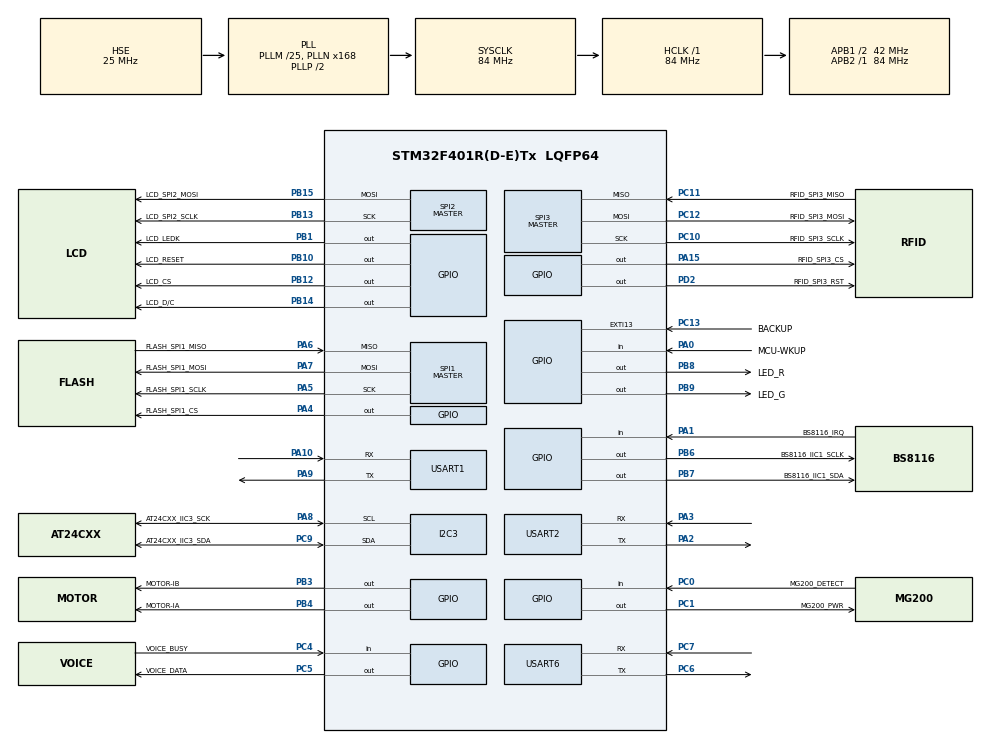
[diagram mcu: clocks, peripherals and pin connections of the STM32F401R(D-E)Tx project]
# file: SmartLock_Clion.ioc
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FREERTOS.HEAP_NUMBER=3
FREERTOS.INCLUDE_uxTaskGetStackHighWaterMark=1
FREERTOS.Queues01=Door_Lock,1,uint8_t,0,Dynamic,NULL,NULL;Keyboard,16,uint8_t,0,Dynamic,NULL,NULL
FREERTOS.Tasks01=defaultTask,1,512,StartDefaultTask,Default,NULL,Dynamic,NULL,NULL;LCD,-3,256,LCD_entry,Default,NULL,Dynamic,NULL,NULL;RFID,-3,256,RFID_entry,Default,NULL,Dynamic,NULL,NULL;LED,-3,512,LED_entry,Default,NULL,Dynamic,NULL,NULL;Door,2,256,Door_entry,Default,NULL,Dynamic,NULL,NULL;ESP32,-3,512,ESP32_entry,Default,NULL,Dynamic,NULL,NULL;BS8116,-3,256,BS8116_entry,Default,NULL,Dynamic,NULL,NULL;Voice,-3,128,Voice_enrty,Default,NULL,Dynamic,NULL,NULL;Password_deal,-3,512,Password_entry,Default,NULL,Dynamic,NULL,NULL;MG200,-3,128,MG200_entry,Default,NULL,Dynamic,NULL,NULL
FREERTOS.configMINIMAL_STACK_SIZE=64
Mcu.Family=STM32F4
Mcu.Name=STM32F401R(D-E)Tx
Mcu.Package=LQFP64
NVIC.EXTI15_10_IRQn=true\:5\:0\:false\:false\:true\:true\:true\:true\:true
NVIC.PriorityGroup=NVIC_PRIORITYGROUP_4
NVIC.USART2_IRQn=true\:5\:0\:false\:false\:true\:true\:true\:true\:true
PA0-WKUP.GPIO_Label=MCU-WKUP
PA0-WKUP.Signal=GPIO_Input
PA1.GPIO_Label=BS8116_IRQ
PA1.Signal=GPIO_Input
PA10.Mode=Asynchronous
PA10.Signal=USART1_RX
PA13.Mode=Serial_Wire
PA13.Signal=SYS_JTMS-SWDIO
PA14.Mode=Serial_Wire
PA14.Signal=SYS_JTCK-SWCLK
PA15.GPIO_Label=RFID_SPI3_CS
PA15.Signal=GPIO_Output
PA2.Mode=Asynchronous
PA2.Signal=USART2_TX
PA3.Mode=Asynchronous
PA3.Signal=USART2_RX
PA4.GPIO_Label=FLASH_SPI1_CS
PA4.Signal=GPIO_Output
PA5.GPIO_Label=FLASH_SPI1_SCLK
PA5.Mode=Full_Duplex_Master
PA5.Signal=SPI1_SCK
PA6.GPIO_Label=FLASH_SPI1_MISO
PA6.Mode=Full_Duplex_Master
PA6.Signal=SPI1_MISO
PA7.GPIO_Label=FLASH_SPI1_MOSI
PA7.Mode=Full_Duplex_Master
PA7.Signal=SPI1_MOSI
PA8.GPIO_Label=AT24CXX_IIC3_SCK
PA8.Mode=I2C
PA8.Signal=I2C3_SCL
PA9.Mode=Asynchronous
PA9.Signal=USART1_TX
PB1.GPIO_Label=LCD_LEDK
PB1.Signal=GPIO_Output
PB10.GPIO_Label=LCD_RESET
PB10.Signal=GPIO_Output
PB12.GPIO_Label=LCD_CS
PB12.Signal=GPIO_Output
PB13.GPIO_Label=LCD_SPI2_SCLK
PB13.Mode=TX_Only_Simplex_Unidirect_Master
PB13.Signal=SPI2_SCK
PB14.GPIO_Label=LCD_D/C
PB14.Signal=GPIO_Output
PB15.GPIO_Label=LCD_SPI2_MOSI
PB15.Mode=TX_Only_Simplex_Unidirect_Master
PB15.Signal=SPI2_MOSI
PB3.GPIO_Label=MOTOR-IB
PB3.GPIO_PuPd=GPIO_PULLDOWN
PB3.PinState=GPIO_PIN_RESET
PB3.Signal=GPIO_Output
PB4.GPIO_Label=MOTOR-IA
PB4.GPIO_PuPd=GPIO_PULLDOWN
PB4.PinState=GPIO_PIN_RESET
PB4.Signal=GPIO_Output
PB6.GPIO_Label=BS8116_IIC1_SCLK
PB6.GPIO_ModeDefaultOutputPP=GPIO_MODE_OUTPUT_PP
PB6.GPIO_PuPd=GPIO_NOPULL
PB6.GPIO_Speed=GPIO_SPEED_FREQ_HIGH
PB6.Signal=GPIO_Output
PB7.GPIO_Label=BS8116_IIC1_SDA
PB7.GPIO_ModeDefaultOutputPP=GPIO_MODE_OUTPUT_OD
PB7.GPIO_PuPd=GPIO_NOPULL
PB7.PinState=GPIO_PIN_SET
PB7.Signal=GPIO_Output
PB8.GPIO_Label=LED_R
PB8.Signal=GPIO_Output
PB9.GPIO_Label=LED_G
PB9.Signal=GPIO_Output
PC0.GPIO_Label=MG200_DETECT
PC0.Signal=GPIO_Input
PC1.GPIO_Label=MG200_PWR
PC1.PinState=GPIO_PIN_SET
PC1.Signal=GPIO_Output
PC10.GPIO_Label=RFID_SPI3_SCLK
PC10.Mode=Full_Duplex_Master
PC10.Signal=SPI3_SCK
PC11.GPIO_Label=RFID_SPI3_MISO
PC11.Mode=Full_Duplex_Master
PC11.Signal=SPI3_MISO
PC12.GPIO_Label=RFID_SPI3_MOSI
PC12.Mode=Full_Duplex_Master
PC12.Signal=SPI3_MOSI
PC13-ANTI_TAMP.GPIO_Label=BACKUP
PC13-ANTI_TAMP.Signal=GPXTI13
PC14-OSC32_IN.Mode=LSE-External-Oscillator
PC14-OSC32_IN.Signal=RCC_OSC32_IN
PC15-OSC32_OUT.Mode=LSE-External-Oscillator
PC15-OSC32_OUT.Signal=RCC_OSC32_OUT
PC4.GPIO_Label=VOICE_BUSY
PC4.Signal=GPIO_Input
PC5.GPIO_Label=VOICE_DATA
PC5.Signal=GPIO_Output
PC6.Mode=Asynchronous
PC6.Signal=USART6_TX
PC7.Mode=Asynchronous
PC7.Signal=USART6_RX
PC9.GPIO_Label=AT24CXX_IIC3_SDA
PC9.Mode=I2C
PC9.Signal=I2C3_SDA
PD2.GPIO_Label=RFID_SPI3_RST
PD2.Signal=GPIO_Output
PH0\ -\ OSC_IN.Mode=HSE-External-Oscillator
PH0\ -\ OSC_IN.Signal=RCC_OSC_IN
PH1\ -\ OSC_OUT.Mode=HSE-External-Oscillator
PH1\ -\ OSC_OUT.Signal=RCC_OSC_OUT
ProjectManager.HeapSize=0x200
ProjectManager.StackSize=0x400
ProjectManager.TargetToolchain=STM32CubeIDE
RCC.48MHZClocksFreq_Value=42000000
RCC.AHBFreq_Value=84000000
RCC.APB1CLKDivider=RCC_HCLK_DIV2
RCC.APB1Freq_Value=42000000
RCC.APB1TimFreq_Value=84000000
RCC.APB2Freq_Value=84000000
RCC.APB2TimFreq_Value=84000000
RCC.CortexFreq_Value=84000000
RCC.HCLKFreq_Value=84000000
RCC.HSE_VALUE=25000000
RCC.HSI_VALUE=16000000
RCC.PLLM=25
RCC.PLLN=168
RCC.PLLSourceVirtual=RCC_PLLSOURCE_HSE
RCC.SYSCLKFreq_VALUE=84000000
RCC.SYSCLKSource=RCC_SYSCLKSOURCE_PLLCLK
RCC.VCOOutputFreq_Value=168000000
SPI1.Direction=SPI_DIRECTION_2LINES
SPI1.Mode=SPI_MODE_MASTER
SPI1.VirtualType=VM_MASTER
SPI2.Direction=SPI_DIRECTION_2LINES
SPI2.Mode=SPI_MODE_MASTER
SPI2.VirtualType=VM_MASTER
SPI3.Direction=SPI_DIRECTION_2LINES
SPI3.Mode=SPI_MODE_MASTER
SPI3.VirtualType=VM_MASTER
USART1.VirtualMode=VM_ASYNC
USART2.VirtualMode=VM_ASYNC
USART6.VirtualMode=VM_ASYNC
VP_FREERTOS_VS_CMSIS_V1.Mode=CMSIS_V1
board=custom

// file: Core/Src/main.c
/* USER CODE BEGIN Header */
/**
  ******************************************************************************
  * @file           : main.c
  * @brief          : Main program body
  ******************************************************************************
  * @attention
  *
  * Copyright (c) 2022 STMicroelectronics.
  * All rights reserved.
  *
  * This software is licensed under terms that can be found in the LICENSE file
  * in the root directory of this software component.
  * If no LICENSE file comes with this software, it is provided AS-IS.
  *
  ******************************************************************************
  */
/* USER CODE END Header */
#include "main.h"
#include "cmsis_os.h"
#include "i2c.h"
#include "spi.h"
#include "usart.h"
#include "gpio.h"

void SystemClock_Config(void);
void MX_FREERTOS_Init(void);

int main(void)
{

  /* MCU Configuration--------------------------------------------------------*/

  /* Reset of all peripherals, Initializes the Flash interface and the Systick. */
  HAL_Init();

  /* Configure the system clock */
  SystemClock_Config();

  /* Initialize all configured peripherals */
  MX_GPIO_Init();
  MX_USART1_UART_Init();
  MX_USART2_UART_Init();
  MX_SPI2_Init();
  MX_SPI3_Init();
  MX_I2C3_Init();
  MX_SPI1_Init();
  MX_USART6_UART_Init();
  /* USER CODE BEGIN 2 */
  RetargetInit(&huart1);

  RFID_Init();
  st7789vm_init();
  Door_Init();

  HAL_UART_Receive_IT(&huart2, &b, 1);
  /* USER CODE END 2 */

  /* Call init function for freertos objects (in freertos.c) */
  MX_FREERTOS_Init();

  /* Start scheduler */
  osKernelStart();

  /* We should never get here as control is now taken by the scheduler */
  /* Infinite loop */
  while (1)
  {

  }
}

void SystemClock_Config(void)
{
  RCC_OscInitTypeDef RCC_OscInitStruct = {0};
  RCC_ClkInitTypeDef RCC_ClkInitStruct = {0};

  /** Configure the main internal regulator output voltage
  */
  __HAL_RCC_PWR_CLK_ENABLE();
  __HAL_PWR_VOLTAGESCALING_CONFIG(PWR_REGULATOR_VOLTAGE_SCALE2);

  /** Initializes the RCC Oscillators according to the specified parameters
  * in the RCC_OscInitTypeDef structure.
  */
  RCC_OscInitStruct.OscillatorType = RCC_OSCILLATORTYPE_HSE;
  RCC_OscInitStruct.HSEState = RCC_HSE_ON;
  RCC_OscInitStruct.PLL.PLLState = RCC_PLL_ON;
  RCC_OscInitStruct.PLL.PLLSource = RCC_PLLSOURCE_HSE;
  RCC_OscInitStruct.PLL.PLLM = 25;
  RCC_OscInitStruct.PLL.PLLN = 168;
  RCC_OscInitStruct.PLL.PLLP = RCC_PLLP_DIV2;
  RCC_OscInitStruct.PLL.PLLQ = 4;
  if (HAL_RCC_OscConfig(&RCC_OscInitStruct) != HAL_OK)
  {
    Error_Handler();
  }

  /** Initializes the CPU, AHB and APB buses clocks
  */
  RCC_ClkInitStruct.ClockType = RCC_CLOCKTYPE_HCLK|RCC_CLOCKTYPE_SYSCLK
                              |RCC_CLOCKTYPE_PCLK1|RCC_CLOCKTYPE_PCLK2;
  RCC_ClkInitStruct.SYSCLKSource = RCC_SYSCLKSOURCE_PLLCLK;
  RCC_ClkInitStruct.AHBCLKDivider = RCC_SYSCLK_DIV1;
  RCC_ClkInitStruct.APB1CLKDivider = RCC_HCLK_DIV2;
  RCC_ClkInitStruct.APB2CLKDivider = RCC_HCLK_DIV1;

  if (HAL_RCC_ClockConfig(&RCC_ClkInitStruct, FLASH_LATENCY_2) != HAL_OK)
  {
    Error_Handler();
  }
}

void Error_Handler(void)
{
  __disable_irq();
  while (1)
  {
  }
}

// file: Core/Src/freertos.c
/* USER CODE BEGIN Header */
/**
  ******************************************************************************
  * File Name          : freertos.c
  * Description        : Code for freertos applications
  ******************************************************************************
  * @attention
  *
  * Copyright (c) 2022 STMicroelectronics.
  * All rights reserved.
  *
  * This software is licensed under terms that can be found in the LICENSE file
  * in the root directory of this software component.
  * If no LICENSE file comes with this software, it is provided AS-IS.
  *
  ******************************************************************************
  */
/* USER CODE END Header */

#include "FreeRTOS.h"
#include "task.h"
#include "main.h"
#include "cmsis_os.h"

/* USER CODE BEGIN Includes */
#include "usart.h"
/* USER CODE END Includes */

osThreadId defaultTaskHandle;
osThreadId LCDHandle;
osThreadId RFIDHandle;
osThreadId LEDHandle;
osThreadId DoorHandle;
osThreadId ESP32Handle;
osThreadId BS8116Handle;
osThreadId VoiceHandle;
osThreadId Password_dealHandle;
osThreadId MG200Handle;
osMessageQId Door_LockHandle;
osMessageQId KeyboardHandle;

void StartDefaultTask(void const * argument);
void LCD_entry(void const * argument);
void RFID_entry(void const * argument);
void LED_entry(void const * argument);
void Door_entry(void const * argument);
void ESP32_entry(void const * argument);
void BS8116_entry(void const * argument);
void Voice_enrty(void const * argument);
void Password_entry(void const * argument);
void MG200_entry(void const * argument);

void MX_FREERTOS_Init(void); /* (MISRA C 2004 rule 8.1) */

/* GetIdleTaskMemory prototype (linked to static allocation support) */
void vApplicationGetIdleTaskMemory( StaticTask_t **ppxIdleTaskTCBBuffer, StackType_t **ppxIdleTaskStackBuffer, uint32_t *pulIdleTaskStackSize );

/* USER CODE BEGIN GET_IDLE_TASK_MEMORY */
static StaticTask_t xIdleTaskTCBBuffer;
static StackType_t xIdleStack[configMINIMAL_STACK_SIZE];

void vApplicationGetIdleTaskMemory( StaticTask_t **ppxIdleTaskTCBBuffer, StackType_t **ppxIdleTaskStackBuffer, uint32_t *pulIdleTaskStackSize )
{
  *ppxIdleTaskTCBBuffer = &xIdleTaskTCBBuffer;
  *ppxIdleTaskStackBuffer = &xIdleStack[0];
  *pulIdleTaskStackSize = configMINIMAL_STACK_SIZE;
  /* place for user code */
}
/* USER CODE END GET_IDLE_TASK_MEMORY */

void MX_FREERTOS_Init(void) {

  /* Create the queue(s) */
  /* definition and creation of Door_Lock */
  osMessageQDef(Door_Lock, 1, uint8_t);
  Door_LockHandle = osMessageCreate(osMessageQ(Door_Lock), NULL);

  /* definition and creation of Keyboard */
  osMessageQDef(Keyboard, 16, uint8_t);
  KeyboardHandle = osMessageCreate(osMessageQ(Keyboard), NULL);

  /* Create the thread(s) */
  /* definition and creation of defaultTask */
  osThreadDef(defaultTask, StartDefaultTask, osPriorityAboveNormal, 0, 512);
  defaultTaskHandle = osThreadCreate(osThread(defaultTask), NULL);

  /* definition and creation of LCD */
  osThreadDef(LCD, LCD_entry, osPriorityIdle, 0, 256);
  LCDHandle = osThreadCreate(osThread(LCD), NULL);

  /* definition and creation of RFID */
  osThreadDef(RFID, RFID_entry, osPriorityIdle, 0, 256);
  RFIDHandle = osThreadCreate(osThread(RFID), NULL);

  /* definition and creation of LED */
  osThreadDef(LED, LED_entry, osPriorityIdle, 0, 512);
  LEDHandle = osThreadCreate(osThread(LED), NULL);

  /* definition and creation of Door */
  osThreadDef(Door, Door_entry, osPriorityHigh, 0, 256);
  DoorHandle = osThreadCreate(osThread(Door), NULL);

  /* definition and creation of ESP32 */
  osThreadDef(ESP32, ESP32_entry, osPriorityIdle, 0, 512);
  ESP32Handle = osThreadCreate(osThread(ESP32), NULL);

  /* definition and creation of BS8116 */
  osThreadDef(BS8116, BS8116_entry, osPriorityIdle, 0, 256);
  BS8116Handle = osThreadCreate(osThread(BS8116), NULL);

  /* definition and creation of Voice */
  osThreadDef(Voice, Voice_enrty, osPriorityIdle, 0, 128);
  VoiceHandle = osThreadCreate(osThread(Voice), NULL);

  /* definition and creation of Password_deal */
  osThreadDef(Password_deal, Password_entry, osPriorityIdle, 0, 512);
  Password_dealHandle = osThreadCreate(osThread(Password_deal), NULL);

  /* definition and creation of MG200 */
  osThreadDef(MG200, MG200_entry, osPriorityIdle, 0, 128);
  MG200Handle = osThreadCreate(osThread(MG200), NULL);

}

void StartDefaultTask(void const * argument)
{
  /* USER CODE BEGIN StartDefaultTask */
  UBaseType_t task1, task2, task3, task4, task5, task6, task7, task8, task9, task10;
  /* Infinite loop */
  for(;;)
  {

    task1 = uxTaskGetStackHighWaterMark(NULL);
    task2 = uxTaskGetStackHighWaterMark(LCDHandle);
    task3 = uxTaskGetStackHighWaterMark(RFIDHandle);
    task4 = uxTaskGetStackHighWaterMark(LEDHandle);
    task5 = uxTaskGetStackHighWaterMark(DoorHandle);
    task6 = uxTaskGetStackHighWaterMark(ESP32Handle);
    task7 = uxTaskGetStackHighWaterMark(BS8116Handle);
    task8 = uxTaskGetStackHighWaterMark(VoiceHandle);
    task9 = uxTaskGetStackHighWaterMark(Password_dealHandle);
      task10 = uxTaskGetStackHighWaterMark(MG200Handle);

    printf("\r\ntask1 : %ld\n"
           "task2 : %ld\n"
           "task3 : %ld\n"
           "task4 : %ld\n"
           "task5 : %ld\n"
           "task6 : %ld\n"
           "task7 : %ld\n"
           "task8 : %ld\n"
           "task9 : %ld\n"
           "task10 : %ld\n",

             task1,
             task2,
             task3,
             task4,
             task5,
             task6,
             task7,
             task8,
             task9,
             task10
             );
    osDelay(50000);

  }
  /* USER CODE END StartDefaultTask */
}

void LCD_entry(void const * argument)
{
  /* USER CODE BEGIN LCD_entry */
//    uint8_t eng[] ={
//            0x00,0x00,0x00,0x00,0x00,0x00,0x00,0x00,0x00,0x00,0x00,0x00,0x1F,0xFC,0x1F,0xFC,
//            0x10,0x08,0x30,0x10,0x20,0x10,0x20,0x20,0x00,0x20,0x00,0x40,0x00,0x40,0x00,0x40,
//            0x00,0x80,0x00,0x80,0x01,0x00,0x01,0x00,0x01,0x00,0x01,0x00,0x03,0x00,0x03,0x00,
//            0x03,0x00,0x03,0x00,0x03,0x00,0x03,0x00,0x00,0x00,0x00,0x00,0x00,0x00,0x00,0x00,/*"7",0*/
//    };
//
//
//    uint8_t chi[] = {
//
//            0x00,0x00,0x00,0x00,0x00,0x00,0x00,0xF0,0x04,0x00,0x9B,0xFC,0x3E,0x90,0x08,0x24,
//            0x90,0x08,0x24,0xA0,0x08,0x24,0xA3,0xC8,0x24,0xA2,0x48,0x24,0xA2,0x48,0x24,0xA2,
//            0x48,0x24,0x92,0x48,0x24,0x92,0x48,0x24,0x9A,0x48,0x3C,0x9B,0xC8,0x24,0xDA,0x48,
//            0x20,0xB0,0x08,0x00,0x80,0x08,0x00,0x80,0x08,0x00,0x80,0x08,0x00,0x80,0x08,0x00,
//            0x80,0x78,0x00,0x80,0x10,0x00,0x00,0x00,/*"啊",0*/
//
//
//    };
//    Display_eng(100, 100, RED,WHITE,32,eng);
//    Display_chi(150,150,RED,WHITE,24,chi);
  /* Infinite loop */
  for(;;)
  {

    //Display_Pic(0,0,gImage_123456);

    osDelay(3000);
  }
  /* USER CODE END LCD_entry */
}

void RFID_entry(void const * argument)
{
  /* USER CODE BEGIN RFID_entry */
  uint8_t card_id[4] = {0}; //�?�ID
  uint8_t CT[4] = {0}; //�?�类型

  /* Infinite loop */
  for(;;)
  {
      if(PcdRequest(PICC_REQALL, CT) == MI_OK)//寻�?��?功
      {
          int i = 0;//�?�0是开门，�?�1是关门
          xQueueSend(Door_LockHandle, &i, 0);
//          if(PcdAnticoll(card_id) == MI_OK)
//          {
//              printf("card_type:");
//              print_info(CT, 4);
//              printf("\r\n");
//              printf("card_id:");
//              print_info(card_id, 4);
//              printf("\r\n");
//              Open_Door();
//
//          }
      }

      osDelay(500);
  }
  /* USER CODE END RFID_entry */
}

void LED_entry(void const * argument)
{
  /* USER CODE BEGIN LED_entry */
  /* Infinite loop */
  for(;;)
  {
    HAL_GPIO_TogglePin(LED_G_GPIO_Port, LED_G_Pin);
    HAL_GPIO_TogglePin(LED_R_GPIO_Port, LED_R_Pin);
//    Delay_ms(1000);
//    LED_Blink();
    osDelay(1000);
  }
  /* USER CODE END LED_entry */
}

void Door_entry(void const * argument)
{
  /* USER CODE BEGIN Door_entry */
  uint8_t buf = 0;

  uint8_t timeout = 10;
  /* Infinite loop */
  for(;;)
  {
      xQueueReceive(Door_LockHandle, &buf, 0);
      // control the lock
      if(buf == 1 && lock_status == 0 && door_status == 1)
      {
          Close_Door();
          lock_status = 1;
      }
      if(buf == 0 && lock_status == 1)
      {
          Open_Door();

          lock_status = 0;
      }

      // 关门状�?下 5秒�?��?门
      if(door_status == 1 && lock_status == 0)
      {

          timeout--;
          //printf("%d", timeout);
          if(timeout == 0 && lock_status == 0)
          {
              Close_Door();
              lock_status = 1;
              timeout = 10;
          }
      }

      buf = 3;

    osDelay(500);
  }
  /* USER CODE END Door_entry */
}

void ESP32_entry(void const * argument)
{
  /* USER CODE BEGIN ESP32_entry */
    char cmd[1024] = {0};
    strcpy(cmd, "print()\r\n");
  /* Infinite loop */
  for(;;)
  {

    //HAL_UART_Transmit(&huart2, (uint8_t *)cmd, strlen(cmd) , 0x10);
    osDelay(3000);
  }
  /* USER CODE END ESP32_entry */
}

void BS8116_entry(void const * argument)
{
  /* USER CODE BEGIN BS8116_entry */
  /* Infinite loop */
  for(;;)
  {
      uint8_t buf = 0; //存键盘数�?�
      if(!BS8116_IRQBS8116_IRQ)
      {
          buf = Bs8116_ReadKey();
          xQueueSend(KeyboardHandle, &buf, 0);
          //printf("%c\n", Bs8116_ReadKey());
      }

      osDelay(500);
  }
  /* USER CODE END BS8116_entry */
}

void Voice_enrty(void const * argument)
{
  /* USER CODE BEGIN Voice_enrty */
    //Voice_Sendcmd(0x18);
  /* Infinite loop */
  for(;;)
  {

    osDelay(1);
  }
  /* USER CODE END Voice_enrty */
}

void Password_entry(void const * argument)
{
  /* USER CODE BEGIN Password_entry */
  uint8_t i = 0;//0是开�?
  const static uint8_t pwd[4] = {'1', '2', '3', '4'};

  uint8_t flag = 0;//记录状�?，1是开始记录密�?，0�?记录密�?
  uint8_t password[4] = {0};//�?存密�?
  uint8_t pwd_count = 0;//记录第几�?密�?
  uint8_t buf = 0;
  /* Infinite loop */
  for(;;)
  {
      if(xQueueReceive(KeyboardHandle, &buf, 0) != errQUEUE_EMPTY)
      {
          if(flag == 1)
          {
              printf("%c", buf);
              password[pwd_count] = buf;
              pwd_count++;

          }

          //printf("%c\n", buf);
          if(buf == '#' && flag == 0 && door_status == 1)
          {
              Voice_Sendcmd(0xC);
              printf("#enter pwd:\n");
              osDelay(500);
              flag = 1;
          }

          if(buf == '*' && flag == 1)//接收完毕
          {
              printf("*\n");
              flag = 0;
              pwd_count = 0;
              printf("authentic pwd\n");

              if(memcmp(password, pwd, 4) == 0)
              {
                  xQueueSend(Door_LockHandle, &i, 0);
                  Voice_Sendcmd(0x18);
                  osDelay(500);
              }
              else
              {
                  printf("pwd error! %d\n", memcmp(password, pwd, 4));
                  Voice_Sendcmd(0x19);
              }

              memset(password, 0, 4);
          }

      }

    osDelay(500);
  }
  /* USER CODE END Password_entry */
}

void MG200_entry(void const * argument)
{
  /* USER CODE BEGIN MG200_entry */
  uint8_t i = 0;
  /* Infinite loop */
  for(;;)
  {

      if(HAL_GPIO_ReadPin(MG200_DETECT_GPIO_Port, MG200_DETECT_Pin) == 1)
      {
          printf("MG200\n");
          xQueueSend(Door_LockHandle, &i, 0);
          osDelay(500);
      }

    osDelay(500);
  }
  /* USER CODE END MG200_entry */
}
